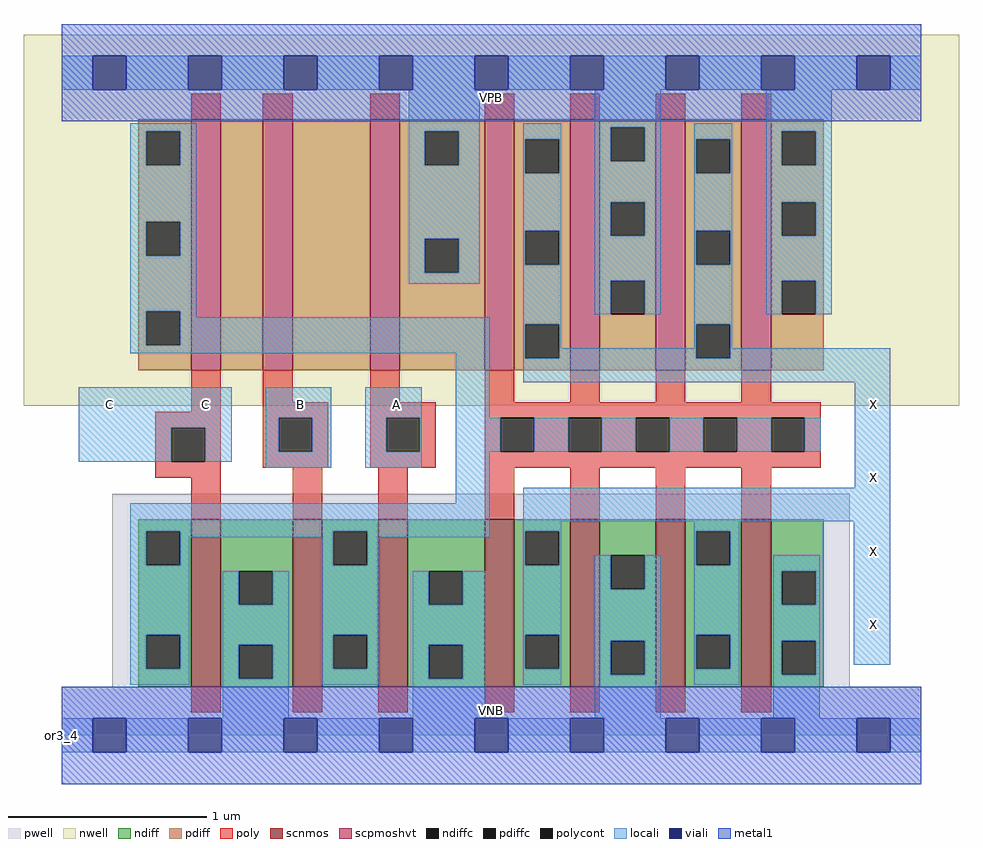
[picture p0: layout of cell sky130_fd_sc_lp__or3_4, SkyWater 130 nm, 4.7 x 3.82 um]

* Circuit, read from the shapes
.subckt sky130_fd_sc_lp__or3_4 A B C VGND VNB VPB VPWR X
XM1 VGND C n1 VNB sky130_fd_pr__nfet_01v8 w=0.84 l=0.15
XM2 n1 B VGND VNB sky130_fd_pr__nfet_01v8 w=0.84 l=0.15
XM3 VGND A n1 VNB sky130_fd_pr__nfet_01v8 w=0.84 l=0.15
XM4 X n1 VGND VNB sky130_fd_pr__nfet_01v8 w=0.84 l=0.15 m=4
XM5 n2 C n1 VPB sky130_fd_pr__pfet_01v8_hvt w=1.26 l=0.15
XM6 n3 B n2 VPB sky130_fd_pr__pfet_01v8_hvt w=1.26 l=0.15
XM7 VPWR A n3 VPB sky130_fd_pr__pfet_01v8_hvt w=1.26 l=0.15
XM8 X n1 VPWR VPB sky130_fd_pr__pfet_01v8_hvt w=1.26 l=0.15 m=4
.ends

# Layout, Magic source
magic
tech sky130A
magscale 1 2
<< nwell >>
rect -38 331 902 704
<< pwell >>
rect 51 49 792 243
rect 0 0 864 49
<< scnmos >>
rect 130 49 160 217
rect 232 49 262 217
rect 318 49 348 217
rect 425 49 455 217
rect 511 49 541 217
rect 597 49 627 217
rect 683 49 713 217
<< scpmoshvt >>
rect 130 367 160 619
rect 202 367 232 619
rect 310 367 340 619
rect 425 367 455 619
rect 511 367 541 619
rect 597 367 627 619
rect 683 367 713 619
<< ndiff >>
rect 77 205 130 217
rect 77 171 85 205
rect 119 171 130 205
rect 77 101 130 171
rect 77 67 85 101
rect 119 67 130 101
rect 77 49 130 67
rect 160 165 232 217
rect 160 131 178 165
rect 212 131 232 165
rect 160 91 232 131
rect 160 57 178 91
rect 212 57 232 91
rect 160 49 232 57
rect 262 205 318 217
rect 262 171 273 205
rect 307 171 318 205
rect 262 101 318 171
rect 262 67 273 101
rect 307 67 318 101
rect 262 49 318 67
rect 348 165 425 217
rect 348 131 369 165
rect 403 131 425 165
rect 348 91 425 131
rect 348 57 369 91
rect 403 57 425 91
rect 348 49 425 57
rect 455 205 511 217
rect 455 171 466 205
rect 500 171 511 205
rect 455 101 511 171
rect 455 67 466 101
rect 500 67 511 101
rect 455 49 511 67
rect 541 181 597 217
rect 541 147 552 181
rect 586 147 597 181
rect 541 95 597 147
rect 541 61 552 95
rect 586 61 597 95
rect 541 49 597 61
rect 627 205 683 217
rect 627 171 638 205
rect 672 171 683 205
rect 627 101 683 171
rect 627 67 638 101
rect 672 67 683 101
rect 627 49 683 67
rect 713 165 766 217
rect 713 131 724 165
rect 758 131 766 165
rect 713 95 766 131
rect 713 61 724 95
rect 758 61 766 95
rect 713 49 766 61
<< pdiff >>
rect 77 607 130 619
rect 77 573 85 607
rect 119 573 130 607
rect 77 516 130 573
rect 77 482 85 516
rect 119 482 130 516
rect 77 426 130 482
rect 77 392 85 426
rect 119 392 130 426
rect 77 367 130 392
rect 160 367 202 619
rect 232 367 310 619
rect 340 607 425 619
rect 340 573 365 607
rect 399 573 425 607
rect 340 499 425 573
rect 340 465 365 499
rect 399 465 425 499
rect 340 367 425 465
rect 455 599 511 619
rect 455 565 466 599
rect 500 565 511 599
rect 455 507 511 565
rect 455 473 466 507
rect 500 473 511 507
rect 455 413 511 473
rect 455 379 466 413
rect 500 379 511 413
rect 455 367 511 379
rect 541 611 597 619
rect 541 577 552 611
rect 586 577 597 611
rect 541 536 597 577
rect 541 502 552 536
rect 586 502 597 536
rect 541 457 597 502
rect 541 423 552 457
rect 586 423 597 457
rect 541 367 597 423
rect 627 599 683 619
rect 627 565 638 599
rect 672 565 683 599
rect 627 507 683 565
rect 627 473 638 507
rect 672 473 683 507
rect 627 413 683 473
rect 627 379 638 413
rect 672 379 683 413
rect 627 367 683 379
rect 713 607 766 619
rect 713 573 724 607
rect 758 573 766 607
rect 713 536 766 573
rect 713 502 724 536
rect 758 502 766 536
rect 713 457 766 502
rect 713 423 724 457
rect 758 423 766 457
rect 713 367 766 423
<< ndiffc >>
rect 85 171 119 205
rect 85 67 119 101
rect 178 131 212 165
rect 178 57 212 91
rect 273 171 307 205
rect 273 67 307 101
rect 369 131 403 165
rect 369 57 403 91
rect 466 171 500 205
rect 466 67 500 101
rect 552 147 586 181
rect 552 61 586 95
rect 638 171 672 205
rect 638 67 672 101
rect 724 131 758 165
rect 724 61 758 95
<< pdiffc >>
rect 85 573 119 607
rect 85 482 119 516
rect 85 392 119 426
rect 365 573 399 607
rect 365 465 399 499
rect 466 565 500 599
rect 466 473 500 507
rect 466 379 500 413
rect 552 577 586 611
rect 552 502 586 536
rect 552 423 586 457
rect 638 565 672 599
rect 638 473 672 507
rect 638 379 672 413
rect 724 573 758 607
rect 724 502 758 536
rect 724 423 758 457
<< poly >>
rect 130 619 160 645
rect 202 619 232 645
rect 310 619 340 645
rect 425 619 455 645
rect 511 619 541 645
rect 597 619 627 645
rect 683 619 713 645
rect 130 325 160 367
rect 94 309 160 325
rect 94 275 110 309
rect 144 275 160 309
rect 94 259 160 275
rect 202 335 232 367
rect 310 335 340 367
rect 425 335 455 367
rect 511 335 541 367
rect 597 335 627 367
rect 683 335 713 367
rect 202 319 268 335
rect 202 285 218 319
rect 252 285 268 319
rect 202 269 268 285
rect 310 319 376 335
rect 310 285 326 319
rect 360 285 376 319
rect 310 269 376 285
rect 425 319 763 335
rect 425 285 441 319
rect 475 285 509 319
rect 543 285 577 319
rect 611 285 645 319
rect 679 285 713 319
rect 747 285 763 319
rect 425 269 763 285
rect 130 217 160 259
rect 232 217 262 269
rect 318 217 348 269
rect 425 217 455 269
rect 511 217 541 269
rect 597 217 627 269
rect 683 217 713 269
rect 130 23 160 49
rect 232 23 262 49
rect 318 23 348 49
rect 425 23 455 49
rect 511 23 541 49
rect 597 23 627 49
rect 683 23 713 49
<< polycont >>
rect 110 275 144 309
rect 218 285 252 319
rect 326 285 360 319
rect 441 285 475 319
rect 509 285 543 319
rect 577 285 611 319
rect 645 285 679 319
rect 713 285 747 319
<< locali >>
rect 0 649 31 683
rect 65 649 127 683
rect 161 649 223 683
rect 257 649 319 683
rect 353 649 415 683
rect 449 649 511 683
rect 545 649 607 683
rect 641 649 703 683
rect 737 649 799 683
rect 833 649 864 683
rect 69 607 135 615
rect 69 573 85 607
rect 119 573 135 607
rect 69 516 135 573
rect 69 482 85 516
rect 119 482 135 516
rect 69 426 135 482
rect 349 607 420 649
rect 349 573 365 607
rect 399 573 420 607
rect 349 499 420 573
rect 349 465 365 499
rect 399 465 420 499
rect 349 454 420 465
rect 464 599 502 615
rect 464 565 466 599
rect 500 565 502 599
rect 464 507 502 565
rect 464 473 466 507
rect 500 473 502 507
rect 69 392 85 426
rect 119 420 135 426
rect 119 392 430 420
rect 69 384 430 392
rect 17 309 171 350
rect 17 275 110 309
rect 144 275 171 309
rect 205 319 271 350
rect 205 285 218 319
rect 252 285 271 319
rect 205 269 271 285
rect 305 319 362 350
rect 305 285 326 319
rect 360 285 362 319
rect 305 269 362 285
rect 396 319 430 384
rect 464 413 502 473
rect 536 611 602 649
rect 536 577 552 611
rect 586 577 602 611
rect 536 536 602 577
rect 536 502 552 536
rect 586 502 602 536
rect 536 457 602 502
rect 536 423 552 457
rect 586 423 602 457
rect 636 599 674 615
rect 636 565 638 599
rect 672 565 674 599
rect 636 507 674 565
rect 636 473 638 507
rect 672 473 674 507
rect 464 379 466 413
rect 500 389 502 413
rect 636 413 674 473
rect 708 607 774 649
rect 708 573 724 607
rect 758 573 774 607
rect 708 536 774 573
rect 708 502 724 536
rect 758 502 774 536
rect 708 457 774 502
rect 708 423 724 457
rect 758 423 774 457
rect 636 389 638 413
rect 500 379 638 389
rect 672 389 674 413
rect 672 379 833 389
rect 464 355 833 379
rect 396 285 441 319
rect 475 285 509 319
rect 543 285 577 319
rect 611 285 645 319
rect 679 285 713 319
rect 747 285 763 319
rect 396 233 430 285
rect 797 249 833 355
rect 69 205 430 233
rect 69 171 85 205
rect 119 199 273 205
rect 119 171 128 199
rect 69 101 128 171
rect 262 171 273 199
rect 307 199 430 205
rect 464 215 833 249
rect 464 205 502 215
rect 307 171 319 199
rect 69 67 85 101
rect 119 67 128 101
rect 69 51 128 67
rect 162 131 178 165
rect 212 131 228 165
rect 162 91 228 131
rect 162 57 178 91
rect 212 57 228 91
rect 162 17 228 57
rect 262 101 319 171
rect 464 171 466 205
rect 500 171 502 205
rect 636 205 681 215
rect 262 67 273 101
rect 307 67 319 101
rect 262 51 319 67
rect 353 131 369 165
rect 403 131 426 165
rect 353 91 426 131
rect 353 57 369 91
rect 403 57 426 91
rect 353 17 426 57
rect 464 101 502 171
rect 464 67 466 101
rect 500 67 502 101
rect 464 51 502 67
rect 536 147 552 181
rect 586 147 602 181
rect 536 95 602 147
rect 536 61 552 95
rect 586 61 602 95
rect 536 17 602 61
rect 636 171 638 205
rect 672 171 681 205
rect 636 101 681 171
rect 636 67 638 101
rect 672 67 681 101
rect 636 51 681 67
rect 715 165 762 181
rect 715 131 724 165
rect 758 131 762 165
rect 715 95 762 131
rect 715 61 724 95
rect 758 61 762 95
rect 796 71 833 215
rect 715 17 762 61
rect 0 -17 31 17
rect 65 -17 127 17
rect 161 -17 223 17
rect 257 -17 319 17
rect 353 -17 415 17
rect 449 -17 511 17
rect 545 -17 607 17
rect 641 -17 703 17
rect 737 -17 799 17
rect 833 -17 864 17
<< viali >>
rect 31 649 65 683
rect 127 649 161 683
rect 223 649 257 683
rect 319 649 353 683
rect 415 649 449 683
rect 511 649 545 683
rect 607 649 641 683
rect 703 649 737 683
rect 799 649 833 683
rect 31 -17 65 17
rect 127 -17 161 17
rect 223 -17 257 17
rect 319 -17 353 17
rect 415 -17 449 17
rect 511 -17 545 17
rect 607 -17 641 17
rect 703 -17 737 17
rect 799 -17 833 17
<< metal1 >>
rect 0 683 864 715
rect 0 649 31 683
rect 65 649 127 683
rect 161 649 223 683
rect 257 649 319 683
rect 353 649 415 683
rect 449 649 511 683
rect 545 649 607 683
rect 641 649 703 683
rect 737 649 799 683
rect 833 649 864 683
rect 0 617 864 649
rect 0 17 864 49
rect 0 -17 31 17
rect 65 -17 127 17
rect 161 -17 223 17
rect 257 -17 319 17
rect 353 -17 415 17
rect 449 -17 511 17
rect 545 -17 607 17
rect 641 -17 703 17
rect 737 -17 799 17
rect 833 -17 864 17
rect 0 -49 864 -17
<< labels >>
flabel pwell s 0 0 864 49 0 FreeSans 200 0 0 0 VNB
port 5 nsew ground bidirectional
flabel nwell s 0 617 864 666 0 FreeSans 200 0 0 0 VPB
port 6 nsew power bidirectional
rlabel comment s 0 0 0 0 4 or3_4
flabel metal1 s 0 617 864 666 0 FreeSans 340 0 0 0 VPWR
port 7 nsew power bidirectional
flabel metal1 s 0 0 864 49 0 FreeSans 340 0 0 0 VGND
port 4 nsew ground bidirectional
flabel locali s 319 316 353 350 0 FreeSans 340 0 0 0 A
port 1 nsew signal input
flabel locali s 223 316 257 350 0 FreeSans 340 0 0 0 B
port 2 nsew signal input
flabel locali s 31 316 65 350 0 FreeSans 340 0 0 0 C
port 3 nsew signal input
flabel locali s 127 316 161 350 0 FreeSans 340 0 0 0 C
port 3 nsew signal input
flabel locali s 799 94 833 128 0 FreeSans 340 0 0 0 X
port 8 nsew signal output
flabel locali s 799 168 833 202 0 FreeSans 340 0 0 0 X
port 8 nsew signal output
flabel locali s 799 242 833 276 0 FreeSans 340 0 0 0 X
port 8 nsew signal output
flabel locali s 799 316 833 350 0 FreeSans 340 0 0 0 X
port 8 nsew signal output
<< properties >>
string LEFsite unit
string LEFclass CORE
string FIXED_BBOX 0 0 864 666
string GDS_FILE $PDKPATH/libs.ref/sky130_fd_sc_lp/gds/sky130_fd_sc_lp.gds
string LEFsymmetry X Y R90
string GDS_END 3189618
string GDS_START 3181942
<< end >>
